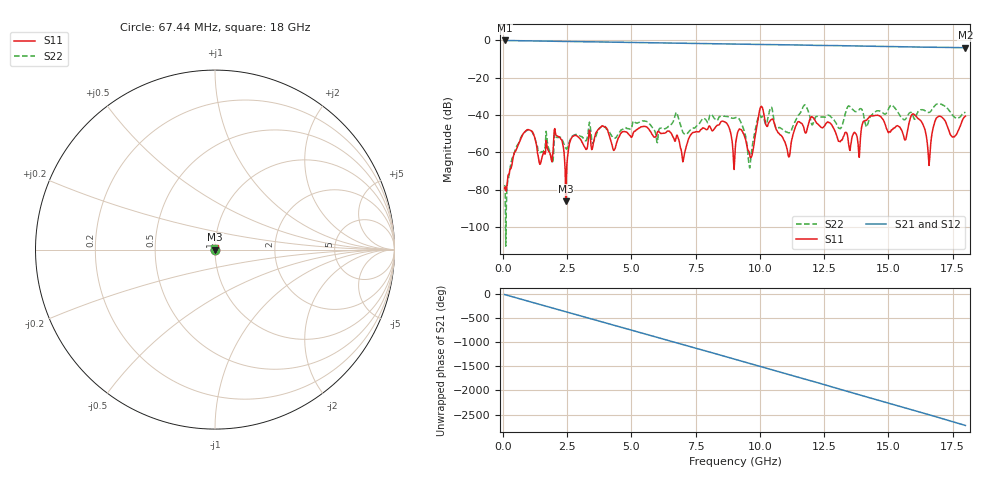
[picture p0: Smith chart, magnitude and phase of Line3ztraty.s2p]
! MDIF file - written using SXPWrite.m
# MHz S RI R 50
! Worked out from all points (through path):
!   800 points, 67.44 MHz to 18 GHz, reference 50 ohm
!   highest |S21| = -0.03 dB at 67.44 MHz (marker M1); lowest = -3.9 dB at 18 GHz (marker M2)
!   group delay of S21, straight-line fit = 420 ps
!   lowest |S11| = -86.1 dB at 2.446 GHz (marker M3), VSWR 1.00, Z = 50 + j0.00355 ohm
!   |S11| at or under -10 dB: start of sweep to end of sweep
!   |S22| runs from -110.1 to -34.0 dB; largest |S21 - S12| = 0.0041
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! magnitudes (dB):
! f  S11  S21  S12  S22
! 67.44 MHz  -79.2  0.0  0.0  -77.4
! 942.8 MHz  -47.8  -0.2  -0.2  -48.2
! 1.459 GHz  -66.2  -0.3  -0.3  -60.0
! 2.087 GHz  -51.0  -0.5  -0.5  -51.9
! 2.446 GHz  -86.1  -0.5  -0.5  -57.7
! 3.075 GHz  -54.4  -0.7  -0.7  -51.6
! 6.06 GHz  -48.8  -1.3  -1.3  -48.9
! 7.025 GHz  -64.0  -1.5  -1.5  -49.6
! 8.596 GHz  -43.4  -1.8  -1.8  -40.6
! 9.045 GHz  -57.6  -1.9  -1.9  -41.5
! 9.247 GHz  -47.7  -2.0  -2.0  -43.4
! 9.606 GHz  -61.2  -2.1  -2.1  -68.3
! 10.05 GHz  -35.3  -2.2  -2.2  -41.2
! 11.11 GHz  -61.9  -2.4  -2.4  -49.4
! 12.03 GHz  -40.8  -2.6  -2.6  -45.2
! 13.51 GHz  -58.9  -2.9  -2.9  -35.4
! 15.01 GHz  -49.4  -3.3  -3.3  -36.5
! 16 GHz  -39.6  -3.5  -3.5  -42.0
! 16.59 GHz  -66.9  -3.6  -3.7  -38.6
! 16.92 GHz  -41.0  -3.7  -3.7  -34.1
! 17.53 GHz  -51.7  -3.8  -3.8  -40.5
! 18 GHz  -40.6  -3.9  -3.9  -38.7
